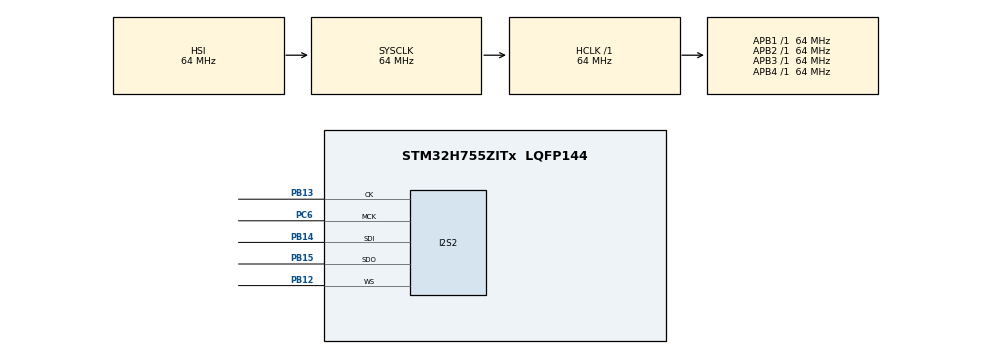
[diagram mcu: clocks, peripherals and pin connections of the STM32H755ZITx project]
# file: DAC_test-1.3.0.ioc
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CORTEX_M7.default_mode_Activation=1
CortexM4.IPs=CORTEX_M4\:I,FATFS_M4\:I,FREERTOS_M4\:I,IWDG2\:I,OPENAMP_M4\:I,PDM2PCM_M4\:I,PWR,RCC,RESMGR_UTILITY,SYS_M4\:I,USB_DEVICE_M4\:I,USB_HOST_M4\:I,VREFBUF,WWDG2\:I,GPIO,DMA,BDMA,MDMA,NVIC2\:I
CortexM7.IPs=CORTEX_M7\:I,FATFS_M7\:I,FREERTOS_M7\:I,IWDG1\:I,OPENAMP_M7\:I,PDM2PCM_M7\:I,PWR\:I,RCC\:I,RESMGR_UTILITY\:I,SYS\:I,USB_DEVICE_M7\:I,USB_HOST_M7\:I,VREFBUF\:I,WWDG1\:I,GPIO\:I,DMA\:I,BDMA\:I,MDMA\:I,NVIC1\:I,I2S2\:I
Dma.Request0=SPI2_RX
Dma.Request1=SPI2_TX
Dma.SPI2_RX.0.Direction=DMA_PERIPH_TO_MEMORY
Dma.SPI2_RX.0.EventEnable=DISABLE
Dma.SPI2_RX.0.FIFOMode=DMA_FIFOMODE_DISABLE
Dma.SPI2_RX.0.Instance=DMA1_Stream0
Dma.SPI2_RX.0.MemDataAlignment=DMA_MDATAALIGN_HALFWORD
Dma.SPI2_RX.0.MemInc=DMA_MINC_ENABLE
Dma.SPI2_RX.0.Mode=DMA_CIRCULAR
Dma.SPI2_RX.0.PeriphDataAlignment=DMA_PDATAALIGN_HALFWORD
Dma.SPI2_RX.0.PeriphInc=DMA_PINC_DISABLE
Dma.SPI2_RX.0.Polarity=HAL_DMAMUX_REQ_GEN_RISING
Dma.SPI2_RX.0.Priority=DMA_PRIORITY_VERY_HIGH
Dma.SPI2_RX.0.RequestNumber=1
Dma.SPI2_RX.0.SignalID=NONE
Dma.SPI2_RX.0.SyncEnable=DISABLE
Dma.SPI2_RX.0.SyncPolarity=HAL_DMAMUX_SYNC_NO_EVENT
Dma.SPI2_RX.0.SyncRequestNumber=1
Dma.SPI2_RX.0.SyncSignalID=NONE
Dma.SPI2_TX.1.Direction=DMA_MEMORY_TO_PERIPH
Dma.SPI2_TX.1.EventEnable=DISABLE
Dma.SPI2_TX.1.FIFOMode=DMA_FIFOMODE_DISABLE
Dma.SPI2_TX.1.Instance=DMA1_Stream1
Dma.SPI2_TX.1.MemDataAlignment=DMA_MDATAALIGN_HALFWORD
Dma.SPI2_TX.1.MemInc=DMA_MINC_ENABLE
Dma.SPI2_TX.1.Mode=DMA_CIRCULAR
Dma.SPI2_TX.1.PeriphDataAlignment=DMA_PDATAALIGN_HALFWORD
Dma.SPI2_TX.1.PeriphInc=DMA_PINC_DISABLE
Dma.SPI2_TX.1.Polarity=HAL_DMAMUX_REQ_GEN_RISING
Dma.SPI2_TX.1.Priority=DMA_PRIORITY_VERY_HIGH
Dma.SPI2_TX.1.RequestNumber=1
Dma.SPI2_TX.1.SignalID=NONE
Dma.SPI2_TX.1.SyncEnable=DISABLE
Dma.SPI2_TX.1.SyncPolarity=HAL_DMAMUX_SYNC_NO_EVENT
Dma.SPI2_TX.1.SyncRequestNumber=1
Dma.SPI2_TX.1.SyncSignalID=NONE
I2S2.AudioFreq=I2S_AUDIOFREQ_48K
I2S2.DataFormat=I2S_DATAFORMAT_24B
I2S2.ErrorAudioFreq=2.23 %
I2S2.Instance=SPI$Index
I2S2.RealAudioFreq=49.072 KHz
Mcu.Family=STM32H7
Mcu.Name=STM32H755ZITx
Mcu.Package=LQFP144
NVIC1.DMA1_Stream0_IRQn=true\:0\:0\:false\:false\:true\:false\:true\:true
NVIC1.DMA1_Stream1_IRQn=true\:0\:0\:false\:false\:true\:false\:true\:true
NVIC1.PriorityGroup=NVIC_PRIORITYGROUP_4
NVIC2.PriorityGroup=NVIC_PRIORITYGROUP_4
PB12.Mode=Full_Duplex_Master
PB12.PinAttribute=CortexM7
PB12.Signal=I2S2_WS
PB13.Mode=Full_Duplex_Master
PB13.PinAttribute=CortexM7
PB13.Signal=I2S2_CK
PB14.Mode=Full_Duplex_Master
PB14.PinAttribute=CortexM7
PB14.Signal=I2S2_SDI
PB15.Mode=Full_Duplex_Master
PB15.PinAttribute=CortexM7
PB15.Signal=I2S2_SDO
PC6.Mode=Master_Clock_Activated
PC6.PinAttribute=CortexM7
PC6.Signal=I2S2_MCK
PH0-OSC_IN\ (PH0).Mode=HSE-External-Clock-Source
PH0-OSC_IN\ (PH0).PinAttribute=Free
PH0-OSC_IN\ (PH0).Signal=RCC_OSC_IN
ProjectManager.HeapSize=M4-0x200,M7-0x200
ProjectManager.StackSize=M4-0x400,M7-0x400
ProjectManager.TargetToolchain=STM32CubeIDE
RCC.ADCFreq_Value=49151977.5390625
RCC.APB1Freq_Value=64000000
RCC.APB2Freq_Value=64000000
RCC.APB3Freq_Value=64000000
RCC.APB4Freq_Value=64000000
RCC.CortexFreq_Value=64000000
RCC.DIVM1=4
RCC.DIVM2=4
RCC.DIVN1=75
RCC.DIVN2=98
RCC.DIVP2=4
RCC.HCLKFreq_Value=64000000
RCC.HSE_VALUE=8000000
RCC.PLL2FRACN=2490
RCC.PLLFRACN=3072
RCC.PLLSourceVirtual=RCC_PLLSOURCE_HSE
RCC.SYSCLKFreq_VALUE=64000000
RCC.USBFreq_Value=75375000
SYS.userName=SYS_M7
VP_SYS_M4_VS_Systick.Mode=SysTick
board=custom

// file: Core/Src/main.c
/* USER CODE BEGIN Header */
/**
  ******************************************************************************
  * @file           : main.c
  * @brief          : Main program body
  ******************************************************************************
  * @attention
  *
  * Copyright (c) 2026 STMicroelectronics.
  * All rights reserved.
  *
  * This software is licensed under terms that can be found in the LICENSE file
  * in the root directory of this software component.
  * If no LICENSE file comes with this software, it is provided AS-IS.
  *
  ******************************************************************************
  */
/* USER CODE END Header */
#include "main.h"

/* USER CODE BEGIN Includes */
#include <math.h>
#include <stdint.h>
/* USER CODE END Includes */

/* USER CODE BEGIN PD */

/* DUAL_CORE_BOOT_SYNC_SEQUENCE: Define for dual core boot synchronization    */
/*                             demonstration code based on hardware semaphore */
/* This define is present in both CM7/CM4 projects                            */
/* To comment when developping/debugging on a single core                     */
#define DUAL_CORE_BOOT_SYNC_SEQUENCE

#if defined(DUAL_CORE_BOOT_SYNC_SEQUENCE)
#ifndef HSEM_ID_0
#define HSEM_ID_0 (0U) /* HW semaphore 0*/
#endif
#endif /* DUAL_CORE_BOOT_SYNC_SEQUENCE */

/* USER CODE END PD */

I2S_HandleTypeDef hi2s2;
DMA_HandleTypeDef hdma_spi2_tx;

/* USER CODE BEGIN PV */
#define SAMPLE_RATE       48000U
#define SINE_FREQUENCY    440U
#define SAMPLES_PER_CYCLE (SAMPLE_RATE / SINE_FREQUENCY)

#define AUDIO_FRAMES      (SAMPLES_PER_CYCLE * 2U)
#define AUDIO_WORDS       (TRIANGLE_FRAMES * 2U)

#define PI_F              3.14159265358979323846f
#define AMPLITUDE         12000.0f

#define TRIANGLE_FREQUENCY     440U
#define TRIANGLE_FRAMES      1200U
#define TRIANGLE_WORDS  (TRIANGLE_FRAMES * 2U)

#define TRIANGLE_AMPLITUDE   6000
/*
 * 16-bit stereo samples:
 * Left, Right, Left, Right, ...
 *
 * DMA-accessible AXI SRAM, aligned for D-cache maintenance.
 */
__attribute__((section(".audio_dma"), aligned(32)))
static uint16_t audio_buffer[AUDIO_WORDS];

volatile uint32_t i2s_error_code = 0;
/* USER CODE END PV */

void SystemClock_Config(void);
static void MPU_Config(void);
static void MX_GPIO_Init(void);
static void MX_DMA_Init(void);
static void MX_I2S2_Init(void);
/* USER CODE BEGIN PFP */
static void Generate_Sine_Wave(void);
static void Start_I2S_Audio(void);
/* USER CODE END PFP */

/* USER CODE BEGIN 0 */
static void Generate_Sine_Wave(void)
{
    for (uint32_t i = 0; i < AUDIO_FRAMES; i++)
    {
        float phase = 2.0f * PI_F *
                      (float)i /
                      (float)SAMPLES_PER_CYCLE;

        float sine_value = sinf(phase);

        int16_t sample =
            (int16_t)(AMPLITUDE * sine_value);

        // Stereo: identical audio on left and right
        audio_buffer[2U * i]     = (uint16_t)sample;
        audio_buffer[2U * i + 1] = (uint16_t)sample;
    }
}

static void Generate_Tri_Wave(void)
{
	for (uint32_t i = 0; i < TRIANGLE_FRAMES; i++)
	{
		   // 11 complete cycles in 1200 samples.
		    uint32_t phase = (i * 11U) % TRIANGLE_FRAMES;

		    int32_t sample;

		    if (phase < TRIANGLE_FRAMES / 2U)
		    {
		        // Rising section: -Amplitude to +Amplitude.
		        sample = -TRIANGLE_AMPLITUDE +
		            (4 * TRIANGLE_AMPLITUDE * (int32_t)phase)
		            / (int32_t)TRIANGLE_FRAMES;
		    }
		    else
		    {
		        // Falling section: +Amplitude to -Amplitude.
		        sample = 3 * TRIANGLE_AMPLITUDE -
		            (4 * TRIANGLE_AMPLITUDE * (int32_t)phase)
		            / (int32_t)TRIANGLE_FRAMES;
		    }

    audio_buffer[2U * i]     = (uint16_t)sample;
    audio_buffer[2U * i + 1U] = (uint16_t)sample;
	}
}

static void Start_I2S_Audio(void)
{
    Generate_Tri_Wave();

    /*
     * Clean D-cache so DMA reads the generated samples.
     * The buffer address is 32-byte aligned.
     * Its size is also a multiple of 32 bytes.
     */
    SCB_CleanDCache_by_Addr(
        (uint32_t *)audio_buffer,
        sizeof(audio_buffer)
    );

    HAL_StatusTypeDef status;

    status = HAL_I2S_Transmit_DMA(
        &hi2s2,
        audio_buffer,
        (uint16_t)AUDIO_WORDS
    );

    if (status != HAL_OK)
    {
        i2s_error_code = HAL_I2S_GetError(&hi2s2);
        Error_Handler();
    }
}

void HAL_I2S_ErrorCallback(I2S_HandleTypeDef *hi2s)
{
    if (hi2s->Instance == SPI2)
    {
        i2s_error_code = HAL_I2S_GetError(hi2s);
        Error_Handler();
    }
}
/* USER CODE END 0 */

int main(void)
{
    HAL_Init();

    SystemClock_Config();

    MX_GPIO_Init();

    // DMA must be initialized before I2S
    MX_DMA_Init();

    MX_I2S2_Init();

    // Generate and transmit sine wave
    Start_I2S_Audio();

    while (1)
    {
        // DMA continuously sends audio
        // CPU is free for other tasks
    }
}

void SystemClock_Config(void)
{
  RCC_OscInitTypeDef RCC_OscInitStruct = {0};
  RCC_ClkInitTypeDef RCC_ClkInitStruct = {0};

  /** Supply configuration update enable
  */
  HAL_PWREx_ConfigSupply(PWR_DIRECT_SMPS_SUPPLY);

  /** Configure the main internal regulator output voltage
  */
  __HAL_PWR_VOLTAGESCALING_CONFIG(PWR_REGULATOR_VOLTAGE_SCALE3);

  while(!__HAL_PWR_GET_FLAG(PWR_FLAG_VOSRDY)) {}

  /** Macro to configure the PLL clock source
  */
  __HAL_RCC_PLL_PLLSOURCE_CONFIG(RCC_PLLSOURCE_HSE);

  /** Initializes the RCC Oscillators according to the specified parameters
  * in the RCC_OscInitTypeDef structure.
  */
  RCC_OscInitStruct.OscillatorType = RCC_OSCILLATORTYPE_HSI|RCC_OSCILLATORTYPE_HSE;
  RCC_OscInitStruct.HSEState = RCC_HSE_BYPASS;
  RCC_OscInitStruct.HSIState = RCC_HSI_DIV1;
  RCC_OscInitStruct.HSICalibrationValue = RCC_HSICALIBRATION_DEFAULT;
  RCC_OscInitStruct.PLL.PLLState = RCC_PLL_NONE;
  if (HAL_RCC_OscConfig(&RCC_OscInitStruct) != HAL_OK)
  {
    Error_Handler();
  }

  /** Initializes the CPU, AHB and APB buses clocks
  */
  RCC_ClkInitStruct.ClockType = RCC_CLOCKTYPE_HCLK|RCC_CLOCKTYPE_SYSCLK
                              |RCC_CLOCKTYPE_PCLK1|RCC_CLOCKTYPE_PCLK2
                              |RCC_CLOCKTYPE_D3PCLK1|RCC_CLOCKTYPE_D1PCLK1;
  RCC_ClkInitStruct.SYSCLKSource = RCC_SYSCLKSOURCE_HSI;
  RCC_ClkInitStruct.SYSCLKDivider = RCC_SYSCLK_DIV1;
  RCC_ClkInitStruct.AHBCLKDivider = RCC_HCLK_DIV1;
  RCC_ClkInitStruct.APB3CLKDivider = RCC_APB3_DIV1;
  RCC_ClkInitStruct.APB1CLKDivider = RCC_APB1_DIV1;
  RCC_ClkInitStruct.APB2CLKDivider = RCC_APB2_DIV1;
  RCC_ClkInitStruct.APB4CLKDivider = RCC_APB4_DIV1;

  if (HAL_RCC_ClockConfig(&RCC_ClkInitStruct, FLASH_LATENCY_1) != HAL_OK)
  {
    Error_Handler();
  }
}

static void MX_I2S2_Init(void)
{

  hi2s2.Instance = SPI2;
  hi2s2.Init.Mode = I2S_MODE_MASTER_TX;
  hi2s2.Init.Standard = I2S_STANDARD_PHILIPS;
  hi2s2.Init.DataFormat = I2S_DATAFORMAT_16B;
  hi2s2.Init.MCLKOutput = I2S_MCLKOUTPUT_DISABLE;
  hi2s2.Init.AudioFreq = I2S_AUDIOFREQ_48K;
  hi2s2.Init.CPOL = I2S_CPOL_LOW;
  hi2s2.Init.FirstBit = I2S_FIRSTBIT_MSB;
  hi2s2.Init.WSInversion = I2S_WS_INVERSION_DISABLE;
  hi2s2.Init.Data24BitAlignment = I2S_DATA_24BIT_ALIGNMENT_RIGHT;
  hi2s2.Init.MasterKeepIOState = I2S_MASTER_KEEP_IO_STATE_DISABLE;
  if (HAL_I2S_Init(&hi2s2) != HAL_OK)
  {
    Error_Handler();
  }

}

static void MX_DMA_Init(void)
{

  /* DMA controller clock enable */
  __HAL_RCC_DMA1_CLK_ENABLE();

  /* DMA interrupt init */
  /* DMA1_Stream0_IRQn interrupt configuration */
  HAL_NVIC_SetPriority(DMA1_Stream0_IRQn, 0, 0);
  HAL_NVIC_EnableIRQ(DMA1_Stream0_IRQn);

}

static void MX_GPIO_Init(void)
{

  /* GPIO Ports Clock Enable */
  __HAL_RCC_GPIOB_CLK_ENABLE();

}

 /* MPU Configuration */

void MPU_Config(void)
{
  MPU_Region_InitTypeDef MPU_InitStruct = {0};

  /* Disables the MPU */
  HAL_MPU_Disable();

  /** Initializes and configures the Region and the memory to be protected
  */
  MPU_InitStruct.Enable = MPU_REGION_ENABLE;
  MPU_InitStruct.Number = MPU_REGION_NUMBER0;
  MPU_InitStruct.BaseAddress = 0x0;
  MPU_InitStruct.Size = MPU_REGION_SIZE_4GB;
  MPU_InitStruct.SubRegionDisable = 0x87;
  MPU_InitStruct.TypeExtField = MPU_TEX_LEVEL0;
  MPU_InitStruct.AccessPermission = MPU_REGION_NO_ACCESS;
  MPU_InitStruct.DisableExec = MPU_INSTRUCTION_ACCESS_DISABLE;
  MPU_InitStruct.IsShareable = MPU_ACCESS_SHAREABLE;
  MPU_InitStruct.IsCacheable = MPU_ACCESS_NOT_CACHEABLE;
  MPU_InitStruct.IsBufferable = MPU_ACCESS_NOT_BUFFERABLE;

  HAL_MPU_ConfigRegion(&MPU_InitStruct);
  /* Enables the MPU */
  HAL_MPU_Enable(MPU_PRIVILEGED_DEFAULT);

}

void Error_Handler(void)
{
  __disable_irq();
  while (1)
  {
  }
}
